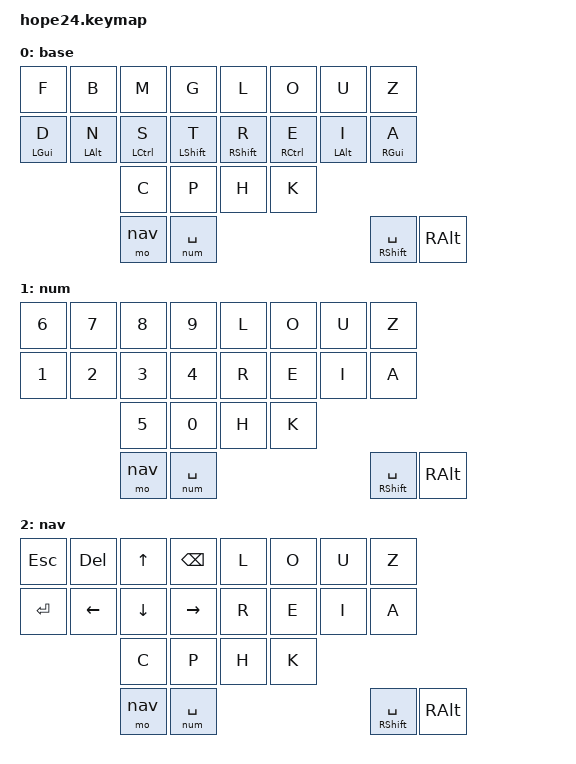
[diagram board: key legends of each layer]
#include "zmk-nodefree-config/keypos_def/keypos.h"
#include "zmk-nodefree-config/helper.h"
#include <behaviors.dtsi>
#include <dt-bindings/zmk/keys.h>
#include <dt-bindings/zmk/bt.h>

#define ___ &trans

#define base 0
#define num 1
#define nav 2

// hyper key
#define HYP LS(LC(LA(LGUI)))
#define MEH LS(LC(LALT))

#define QUICK_TAP_MS 175

// default layer-tap config
&lt {  
    flavor = "balanced";
    tapping-term-ms = <200>;
    quick-tap-ms = <QUICK_TAP_MS>;
};

#define KEYS_L LT0 LT1 LT2 LT3 LM0 LM1 LM2 LM3 LB0 LB1 // left hand
#define KEYS_R RT0 RT1 RT2 RT3 RM0 RM1 RM2 RM3 RB0 RB1 // right hand
#define THUMBS LH1 LH0 RH0 RH1 // thumbs

#define MAKE_HRM(NAME, HOLD, TAP, TRIGGER_POS) \
    ZMK_BEHAVIOR(NAME, hold_tap, \
        flavor = "balanced"; \
        tapping-term-ms = <280>; \
        quick-tap-ms = <QUICK_TAP_MS>; \
        require-prior-idle-ms = <150>; \
        bindings = <HOLD>, <TAP>; \
        hold-trigger-key-positions = <TRIGGER_POS>; \
        hold-trigger-on-release; \
    )
MAKE_HRM(hml, &kp, &kp, KEYS_R THUMBS)  // left-hand HRMs
MAKE_HRM(hmr, &kp, &kp, KEYS_L THUMBS)  // right-hand HRMs


/ {
keymap {
  compatible = "zmk,keymap";
  base {
    bindings = <
&kp F &kp B &kp M &kp G   &kp L &kp O &kp U &kp Z
&hml LGUI D &hml LALT N &hml LCTRL S &hml LSHFT T   &hmr RSHFT R &hmr RCTRL E &hmr LALT I &hmr RGUI A
            &kp C &kp P   &kp H &kp K
            &mo nav &lt num SPACE &mt RSHFT SPACE &kp RALT
    >;
};

  num {
    bindings = <
&kp N6 &kp N7 &kp N8 &kp N9   &kp L &kp O &kp U &kp Z
&kp N1 &kp N2 &kp N3 &kp N4   &kp R &kp E &kp I &kp A
              &kp N5 &kp N0   &kp H &kp K
            &mo nav &lt num SPACE &mt RSHFT SPACE &kp RALT
    >;
};

  nav {
    bindings = <
&kp ESC &kp DEL &kp UP &kp BACKSPACE   &kp L &kp O &kp U &kp Z
&kp ENTER &kp LEFT &kp DOWN &kp RIGHT   &kp R &kp E &kp I &kp A
            &kp C &kp P   &kp H &kp K
            &mo nav &lt num SPACE &mt RSHFT SPACE &kp RALT
    >;
};
};
};

